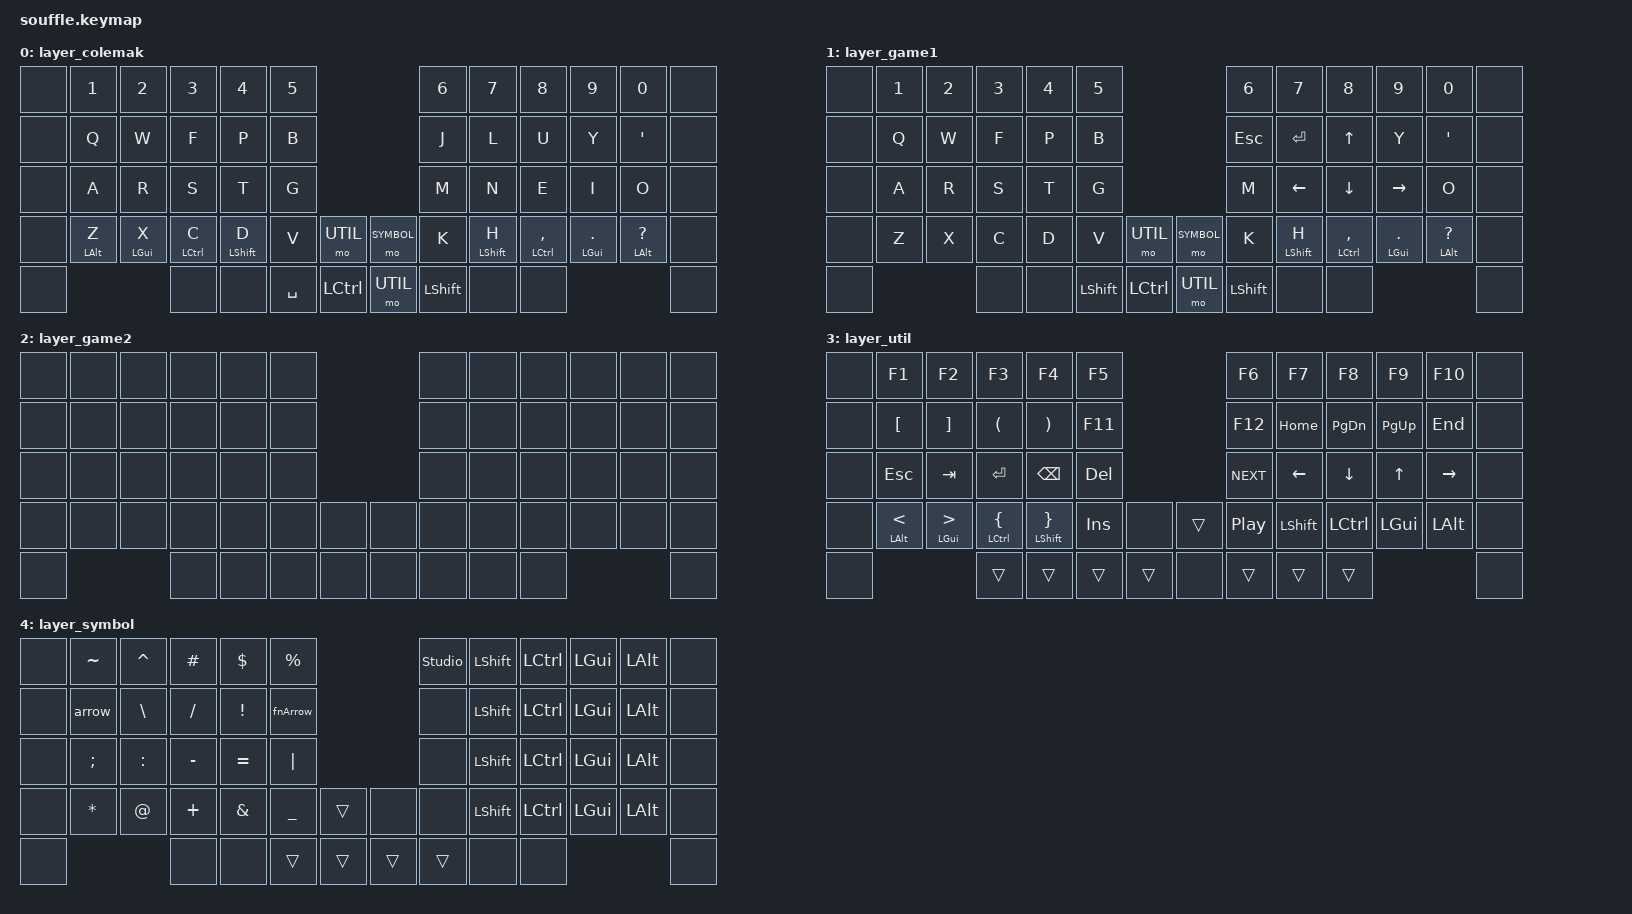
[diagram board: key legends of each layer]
#include <behaviors.dtsi>
#include <dt-bindings/zmk/keys.h>

#define HYPER LS(LC(LA(LGUI)))
#define MEH LC(LA(LGUI))

#define TIMEOUT 30

#define COLEMAK 0
#define GAME1 1
#define GAME2 2
#define UTIL 3
#define SYMBOL 4

#define KEYS_L 0 1 2 3 4 5 12 13 14 15 16 17 24 25 26 27 28 29 36 37 38 39 40 41 50
#define KEYS_R 6 7 8 9 10 11 18 19 20 21 22 23 30 31 32 33 34 35 43 44 45 46 47 48 49 59
#define THUMBS 51 52 53 54 55 56 57 58 42 43

/ {
    combos {
        compatible = "zmk,combos";
        bootloader_central {
            timeout-ms = <30>;
            key-positions = <6 9>;
            bindings = <&bootloader>;
            layers = <UTIL>;
        };

        bootloader_studio_unlock {
            timeout-ms = <30>;
            key-positions = <6 8>;
            bindings = <&studio_unlock>;
            layers = <UTIL>;
        };

       combo_game1 {
            timeout-ms = <30>;
            key-positions = <6 7>;
            bindings = <&tog GAME1>;
	    	layers = <UTIL GAME1>;
        };
    };
};

/ {
    macros {
        fnArrow: fnArrow {
            label = "fnArrow";
            compatible = "zmk,behavior-macro";
            tap-ms = <20>;
            #binding-cells = <0>;
            bindings = <&kp KP_EQUAL &kp GREATER_THAN>;
        };
        arrow: arrow {
            label = "arrow";
            compatible = "zmk,behavior-macro";
            tap-ms = <20>;
            #binding-cells = <0>;
            bindings = <&kp KP_MINUS &kp GREATER_THAN>;
        };
    };
};

/ {
    behaviors {
        hml: homerow_mods_left {
            compatible = "zmk,behavior-hold-tap";
            #binding-cells = <2>;
            flavor = "balanced";
            tapping-term-ms = <280>;
            quick-tap-ms = <175>;
            require-prior-idle-ms = <150>;
            bindings = <&kp>, <&kp>;
            hold-trigger-key-positions = <KEYS_R THUMBS>;
            hold-trigger-on-release;
        };

        hmr: homerow_mods_right {
            compatible = "zmk,behavior-hold-tap";
            #binding-cells = <2>;
            flavor = "balanced";
            tapping-term-ms = <280>;
            quick-tap-ms = <175>;
            require-prior-idle-ms = <150>;
            bindings = <&kp>, <&kp>;
            hold-trigger-key-positions = <KEYS_L THUMBS>;
            hold-trigger-on-release;
        };
    };
	keymap {
	    compatible = "zmk,keymap";
	    layer_colemak {
			bindings = <
                &none           &kp N1          &kp N2          &kp N3          &kp N4          &kp N5                                          &kp N6          &kp N7          &kp N8          &kp N9          &kp N0          &none
                &none           &kp Q           &kp W           &kp F           &kp P           &kp B                                           &kp J           &kp L           &kp U           &kp Y           &kp APOS        &none
                &none           &kp A           &kp R           &kp S           &kp T           &kp G                                           &kp M           &kp N           &kp E           &kp I           &kp O           &none
                &none           &hml LALT Z     &hml LGUI X     &hml LCTRL C    &hml LSHFT D    &kp V           &mo UTIL            &mo SYMBOL  &kp K           &hmr LSHFT H    &hmr LCTRL COMMA &hmr LGUI DOT  &hmr LALT QMARK &none
                &none                                           &none           &none           &kp SPACE       &kp LCTRL           &mo UTIL    &kp LSHFT       &none           &none                                           &none
			>;
		};

       layer_game1 {
			bindings = <
                &none           &kp N1          &kp N2          &kp N3          &kp N4          &kp N5                                          &kp N6          &kp N7          &kp N8          &kp N9          &kp N0          &none
                &none           &kp Q           &kp W           &kp F           &kp P           &kp B                                           &kp ESC         &kp ENTER       &kp UP          &kp Y           &kp APOS        &none
                &none           &kp A           &kp R           &kp S           &kp T           &kp G                                           &kp M           &kp LEFT        &kp DOWN        &kp RIGHT       &kp O           &none
                &none           &kp Z           &kp X           &kp C           &kp D           &kp V           &mo UTIL            &mo SYMBOL  &kp K           &hmr LSHFT H    &hmr LCTRL COMMA &hmr LGUI DOT  &hmr LALT QMARK &none
                &none                                           &none           &none           &kp LSHFT       &kp LCTRL           &mo UTIL    &kp LSHFT       &none           &none                                           &none
			>;
		};

        layer_game2 {
			bindings = <
                &none           &none           &none           &none           &none           &none                                           &none           &none           &none           &none           &none           &none
                &none           &none           &none           &none           &none           &none                                           &none           &none           &none           &none           &none           &none
                &none           &none           &none           &none           &none           &none                                           &none           &none           &none           &none           &none           &none
                &none           &none           &none           &none           &none           &none           &none               &none       &none           &none           &none           &none           &none           &none
                &none                                           &none           &none           &none           &none               &none       &none           &none           &none                                           &none
		    >;
        };
        
        layer_util {
			bindings = <
                &none           &kp F1          &kp F2          &kp F3          &kp F4          &kp F5                                          &kp F6          &kp F7          &kp F8          &kp F9          &kp F10         &none
                &none           &kp LBKT        &kp RBKT        &kp LPAR        &kp RPAR        &kp F11                                         &kp F12         &kp HOME        &kp PG_DN       &kp PG_UP       &kp END         &none
                &none           &kp ESC         &kp TAB		    &kp ENTER       &kp BSPC        &kp DEL                                         &kp C_NEXT      &kp LEFT        &kp DOWN        &kp UP          &kp RIGHT       &none
                &none           &hml LALT LT    &hml LGUI GT    &hml LCTRL LBRC &hml LSHFT RBRC &kp INS         &none               &trans      &kp C_PP        &kp LSHFT       &kp LCTRL       &kp LGUI        &kp LALT        &none
                &none                                           &trans          &trans          &trans          &trans              &none       &trans          &trans          &trans                                          &none
		    >;
		};

        layer_symbol {
            bindings = <
                &none           &kp TILDE       &kp CARET       &kp HASH        &kp DLLR        &kp PRCNT                                       &studio_unlock  &kp LSHFT       &kp LCTRL       &kp LGUI        &kp LALT        &none
                &none           &arrow          &kp BSLH        &kp FSLH        &kp EXCL        &fnArrow                                        &none           &kp LSHFT       &kp LCTRL       &kp LGUI        &kp LALT        &none
                &none           &kp SEMI        &kp COLON       &kp MINUS       &kp EQUAL       &kp PIPE                                        &none           &kp LSHFT       &kp LCTRL       &kp LGUI        &kp LALT        &none
                &none           &kp ASTRK       &kp AT          &kp PLUS        &kp AMPS        &kp UNDER       &trans               &none      &none           &kp LSHFT       &kp LCTRL       &kp LGUI        &kp LALT        &none
                &none                                           &none           &none           &trans          &trans               &trans     &trans          &none           &none                                           &none
            >;
        };

        extra1 {
            status = "reserved";
        };
        
        extra2 {
            status = "reserved";
        };
	};
};

//              &none           &none           &none           &none           &none           &none                                           &none           &none           &none           &none           &none           &none
//              &none           &none           &none           &none           &none           &none                                           &none           &none           &none           &none           &none           &none
//              &none           &none           &none           &none           &none           &none                                           &none           &none           &none           &none           &none           &none
//              &none           &none           &none           &none           &none           &none           &none               &none       &none           &none           &none           &none           &none           &none
//              &none                                           &none           &none           &none           &none               &none       &none           &none           &none                                           &none


//	            0               1               2               3               4               5                                               6               7               8               9               10              11
//              12              13              14              15              16              17                                              18              19              20              21              22              23
//              24              25              26              27              28              29                                              30              31              32              33              34              35
//              36              37              38              39              40              41              42                  43          44              45              46              47              48              49
//              50                                              51              52              53              54                  55          56              57              58                                              59
